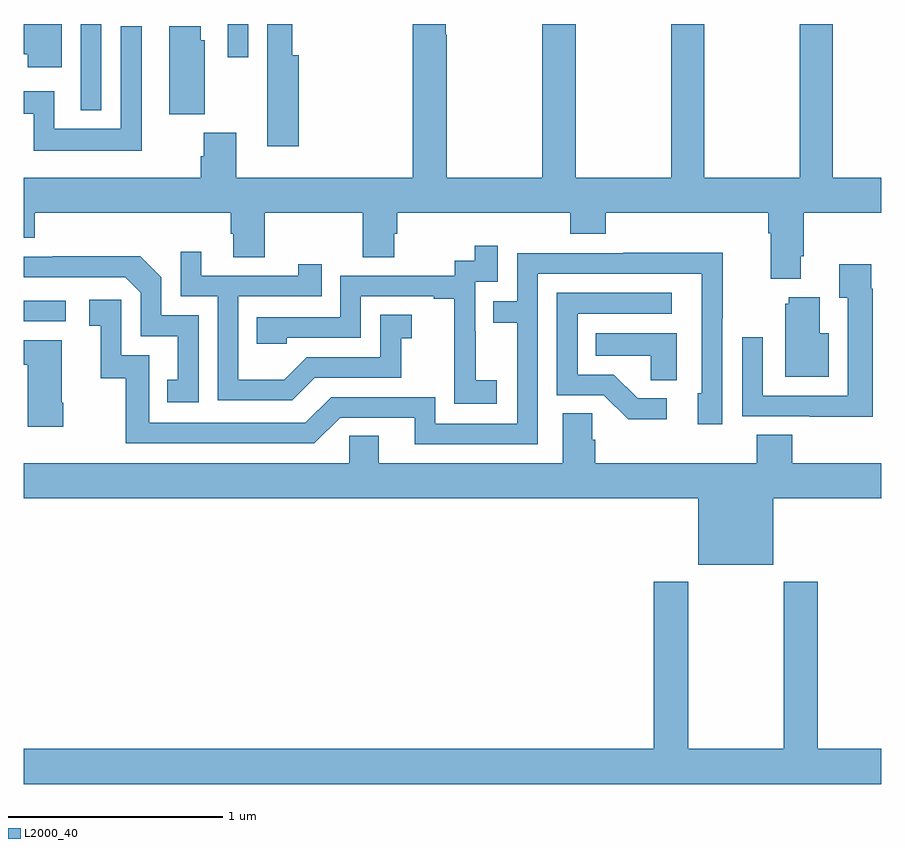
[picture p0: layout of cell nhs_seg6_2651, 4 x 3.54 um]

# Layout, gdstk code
import gdstk
lib = gdstk.Library(unit=1e-6, precision=1e-09)
def R(c, l, rs):  # rectangles x0, y0, x1, y1
    for r in rs: c.add(gdstk.rectangle(r[:2], r[2:], *l))
def P(c, l, *ps):  # polygons
    for p in ps: c.add(gdstk.Polygon(p, *l))
L2000_40 = (2000, 40)

nhs_seg6_2651 = lib.new_cell('nhs_seg6_2651')
R(nhs_seg6_2651, L2000_40, [(267,996.114,267.196,996.21), (267.267,997.097,267.363,997.5), (267.951,997.344,268.047,997.5)])
P(nhs_seg6_2651, L2000_40, [(268.283,997.354),(268.253,997.354),(268.253,997.5),(268.137,997.5),(268.137,997.25),(268.136,997.25),(268.136,996.93),(268.283,996.93)],
  [(270.625,996.418),(270.638,996.418),(270.638,996.62),(271,996.62),(271,996.784),(270.774,996.784),(270.774,997.5),(270.619,997.5),(270.619,996.784),(270.174,996.784),(270.174,997.5),(270.019,997.5),(270.019,996.784),(269.574,996.784),(269.574,997.5),(269.419,997.5),(269.419,996.784),(268.974,996.784),(268.974,997.451),(268.969,997.451),(268.969,997.5),(268.814,997.5),(268.814,996.784),(267.992,996.784),(267.992,996.993),(267.839,996.993),(267.839,996.884),(267.827,996.884),(267.827,996.784),(267,996.784),(267,996.503),(267.053,996.503),(267.053,996.62),(267.965,996.62),(267.965,996.522),(267.977,996.522),(267.977,996.412),(268.125,996.412),(268.125,996.62),(268.582,996.62),(268.582,996.412),(268.729,996.412),(268.729,996.522),(268.742,996.522),(268.742,996.62),(269.549,996.62),(269.549,996.521),(269.714,996.521),(269.714,996.62),(270.473,996.62),(270.473,996.524),(270.485,996.524),(270.485,996.311),(270.625,996.311)],
  [(267.178,997.5),(267,997.5),(267,997.358),(267.02,997.358),(267.02,997.299),(267.178,997.299)],
  [(267.844,997.425),(267.826,997.425),(267.826,997.489),(267.68,997.489),(267.68,997.078),(267.844,997.078)],
  [(267.55,997.489),(267.453,997.489),(267.453,997.012),(267.144,997.012),(267.144,997.186),(267,997.186),(267,997.082),(267.047,997.082),(267.047,996.908),(267.55,996.908)],
  [(269.206,995.839),(269.108,995.839),(269.108,996.068),(269.106,996.068),(269.106,996.297),(269.211,996.297),(269.211,996.466),(269.103,996.466),(269.103,996.396),(269.01,996.396),(269.01,996.327),(268.476,996.327),(268.476,996.132),(268.087,996.132),(268.087,996.009),(268.227,996.009),(268.227,996.036),(268.572,996.036),(268.572,996.231),(268.913,996.231),(268.913,996.219),(269.009,996.219),(269.009,995.935),(269.008,995.935),(269.008,995.729),(269.206,995.729)],
  [(268.357,995.85),(268.761,995.85),(268.761,996.035),(268.81,996.035),(268.81,996.145),(268.662,996.145),(268.662,995.946),(268.32,995.946),(268.216,995.842),(268.002,995.842),(268.002,996.231),(268.391,996.231),(268.391,996.379),(268.28,996.379),(268.28,996.327),(267.829,996.327),(267.829,996.439),(267.732,996.439),(267.732,996.231),(267.906,996.231),(267.906,995.745),(268.252,995.745)],
  [(269.397,996.336),(270.162,996.336),(270.162,995.778),(270.143,995.778),(270.143,995.634),(270.258,995.634),(270.258,996.127),(270.261,996.127),(270.261,996.434),(269.797,996.434),(269.797,996.432),(269.301,996.432),(269.301,996.207),(269.191,996.207),(269.191,996.106),(269.301,996.106),(269.301,995.637),(268.92,995.637),(268.92,995.76),(268.434,995.76),(268.314,995.64),(267.585,995.64),(267.585,995.955),(267.456,995.955),(267.456,996.214),(267.306,996.214),(267.306,996.093),(267.359,996.093),(267.359,995.847),(267.477,995.847),(267.477,995.544),(268.356,995.544),(268.476,995.664),(268.823,995.664),(268.823,995.541),(269.397,995.541)],
  [(267.816,996.141),(267.642,996.141),(267.642,996.318),(267.544,996.416),(267.136,996.416),(267.136,996.414),(267,996.414),(267,996.318),(267.474,996.318),(267.546,996.246),(267.546,996.045),(267.719,996.045),(267.719,995.841),(267.67,995.841),(267.67,995.736),(267.816,995.736)],
  [(270.959,996.266),(270.952,996.266),(270.952,996.379),(270.803,996.379),(270.803,996.223),(270.843,996.223),(270.843,995.766),(270.447,995.766),(270.447,996.04),(270.351,996.04),(270.351,995.67),(270.667,995.67),(270.667,995.669),(270.959,995.669)],
  [(269.998,995.754),(269.863,995.754),(269.752,995.865),(269.583,995.865),(269.583,996.15),(270.022,996.15),(270.022,996.246),(269.487,996.246),(269.487,995.769),(269.706,995.769),(269.819,995.657),(269.998,995.657)],
  [(270.754,996.058),(270.712,996.058),(270.712,996.226),(270.569,996.226),(270.569,996.195),(270.551,996.195),(270.551,995.855),(270.754,995.855)],
  [(270.046,996.058),(269.668,996.058),(269.668,995.954),(269.925,995.954),(269.925,995.839),(270.046,995.839)],
  [(267.186,995.734),(267.178,995.734),(267.178,996.025),(267,996.025),(267,995.911),(267.02,995.911),(267.02,995.622),(267.186,995.622)],
  [(270.496,995.288),(271,995.288),(271,995.452),(270.584,995.452),(270.584,995.585),(270.419,995.585),(270.419,995.452),(269.666,995.452),(269.666,995.561),(269.652,995.561),(269.652,995.684),(269.513,995.684),(269.513,995.452),(268.657,995.452),(268.657,995.579),(268.518,995.579),(268.518,995.452),(267,995.452),(267,995.288),(270.146,995.288),(270.146,994.979),(270.496,994.979)],
  [(271,994.12),(270.704,994.12),(270.704,994.9),(270.544,994.9),(270.544,994.12),(270.099,994.12),(270.099,994.9),(269.939,994.9),(269.939,994.12),(267,994.12),(267,993.956),(271,993.956)])

lib.write_gds('nhs_seg6_2651.gds')
